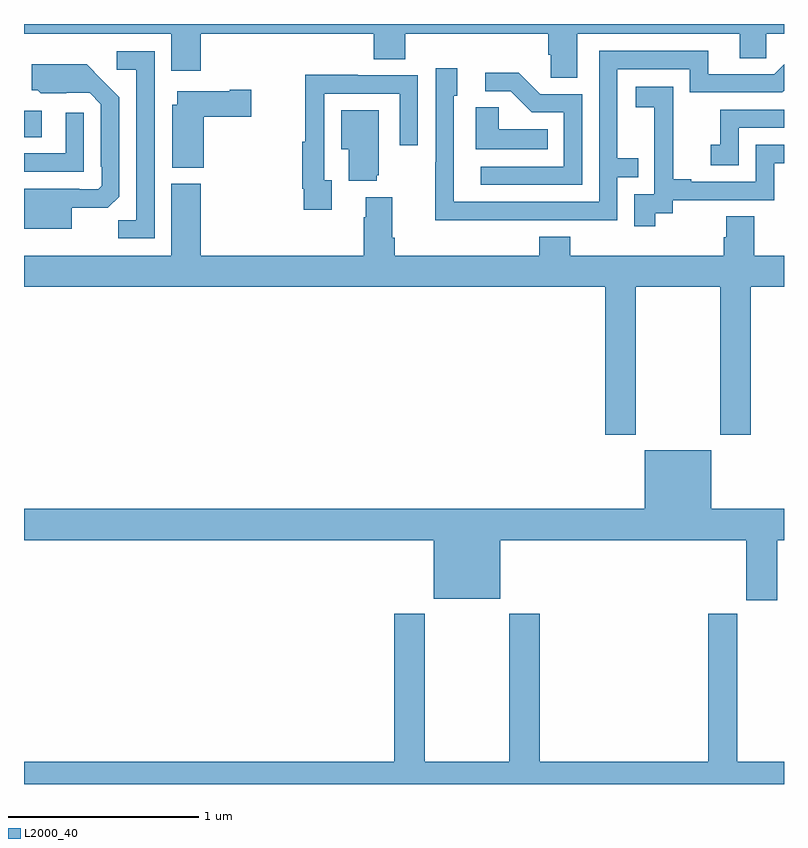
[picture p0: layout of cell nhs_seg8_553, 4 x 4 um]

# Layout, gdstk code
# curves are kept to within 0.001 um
import gdstk
lib = gdstk.Library(unit=1e-6, precision=1e-09)
def R(c, l, rs):  # rectangles x0, y0, x1, y1
    for r in rs: c.add(gdstk.rectangle(r[:2], r[2:], *l))
def P(c, l, *ps):  # polygons
    for p in ps: c.add(gdstk.Polygon(p, *l))
L2000_40 = (2000, 40)

nhs_seg8_553 = lib.new_cell('nhs_seg8_553')
R(nhs_seg8_553, L2000_40, [(147,1101.304,147.094,1101.444)])
P(nhs_seg8_553, L2000_40, [(149.911,1101.848),(150.767,1101.848),(150.767,1101.721),(150.906,1101.721),(150.906,1101.848),(151,1101.848),(151,1101.9),(147,1101.9),(147,1101.848),(147.776,1101.848),(147.776,1101.654),(147.929,1101.654),(147.929,1101.848),(148.841,1101.848),(148.841,1101.715),(149.006,1101.715),(149.006,1101.848),(149.759,1101.848),(149.759,1101.739),(149.772,1101.739),(149.772,1101.616),(149.911,1101.616)],
  [(149.627,1100.868),(150.123,1100.868),(150.123,1101.093),(150.233,1101.093),(150.233,1101.194),(150.123,1101.194),(150.123,1101.663),(150.504,1101.663),(150.504,1101.54),(150.99,1101.54),(151,1101.55),(151,1101.688),(150.948,1101.636),(150.601,1101.636),(150.601,1101.759),(150.027,1101.759),(150.027,1100.964),(149.262,1100.964),(149.262,1101.522),(149.281,1101.522),(149.281,1101.667),(149.166,1101.667),(149.166,1101.173),(149.164,1101.173),(149.164,1100.867)],
  [(147.687,1101.756),(147.489,1101.756),(147.489,1101.66),(147.591,1101.66),(147.591,1100.867),(147.496,1100.867),(147.496,1100.772),(147.687,1100.772)],
  [(147.25,1100.933),(147.442,1100.933),(147.501,1100.992),(147.501,1101.514),(147.329,1101.688),(147.041,1101.688),(147.041,1101.552),(147.072,1101.552),(147.088,1101.536),(147.345,1101.537),(147.405,1101.477),(147.405,1101.148),(147.408,1101.148),(147.408,1101.048),(147.39,1101.03),(147.29,1101.03),(147.29,1101.034),(147,1101.034),(147,1100.822),(147.25,1100.822)],
  [(149.937,1101.531),(149.718,1101.531),(149.605,1101.644),(149.427,1101.644),(149.427,1101.546),(149.561,1101.546),(149.672,1101.435),(149.841,1101.435),(149.841,1101.15),(149.403,1101.15),(149.403,1101.054),(149.937,1101.054)],
  [(148.621,1101.078),(148.581,1101.078),(148.581,1101.534),(148.977,1101.534),(148.977,1101.261),(149.073,1101.261),(149.073,1101.63),(148.757,1101.63),(148.757,1101.632),(148.48,1101.632),(148.48,1101.281),(148.465,1101.281),(148.465,1101.034),(148.473,1101.034),(148.473,1100.922),(148.621,1100.922)],
  [(150.322,1100.905),(150.414,1100.905),(150.414,1100.973),(150.948,1100.973),(150.948,1101.168),(151,1101.168),(151,1101.264),(150.852,1101.264),(150.852,1101.069),(150.511,1101.069),(150.511,1101.082),(150.416,1101.082),(150.416,1101.365),(150.417,1101.365),(150.417,1101.571),(150.219,1101.571),(150.219,1101.461),(150.317,1101.461),(150.317,1101.233),(150.318,1101.233),(150.318,1101.003),(150.213,1101.003),(150.213,1100.835),(150.322,1100.835)],
  [(147.946,1101.413),(148.195,1101.413),(148.195,1101.555),(148.082,1101.555),(148.082,1101.547),(147.806,1101.547),(147.806,1101.474),(147.779,1101.474),(147.779,1101.143),(147.946,1101.143)],
  [(149.756,1101.346),(149.499,1101.346),(149.499,1101.461),(149.378,1101.461),(149.378,1101.242),(149.756,1101.242)],
  [(150.762,1101.354),(151,1101.354),(151,1101.45),(150.664,1101.45),(150.664,1101.265),(150.615,1101.265),(150.615,1101.156),(150.762,1101.156)],
  [(148.856,1101.105),(148.867,1101.105),(148.867,1101.445),(148.67,1101.445),(148.67,1101.242),(148.709,1101.242),(148.709,1101.074),(148.856,1101.074)],
  [(147.315,1101.433),(147.219,1101.433),(147.219,1101.219),(147,1101.219),(147,1101.123),(147.315,1101.123)],
  [(150.824,1100.516),(151,1100.516),(151,1100.68),(150.843,1100.68),(150.843,1100.888),(150.695,1100.888),(150.695,1100.778),(150.683,1100.778),(150.683,1100.68),(149.876,1100.68),(149.876,1100.779),(149.711,1100.779),(149.711,1100.68),(148.952,1100.68),(148.952,1100.776),(148.939,1100.776),(148.939,1100.989),(148.799,1100.989),(148.799,1100.882),(148.787,1100.882),(148.787,1100.68),(147.929,1100.68),(147.929,1101.058),(147.776,1101.058),(147.776,1100.68),(147,1100.68),(147,1100.516),(150.059,1100.516),(150.059,1099.737),(150.219,1099.737),(150.219,1100.516),(150.664,1100.516),(150.664,1099.737),(150.824,1099.737)],
  [(150.964,1099.184),(151,1099.184),(151,1099.348),(150.616,1099.348),(150.616,1099.657),(150.266,1099.657),(150.266,1099.348),(147,1099.348),(147,1099.184),(149.156,1099.184),(149.156,1098.875),(149.506,1098.875),(149.506,1099.184),(150.8,1099.184),(150.8,1098.867),(150.964,1098.867)],
  [(151,1098.016),(150.754,1098.016),(150.754,1098.795),(150.602,1098.795),(150.602,1098.016),(149.714,1098.016),(149.714,1098.796),(149.554,1098.796),(149.554,1098.016),(149.109,1098.016),(149.109,1098.796),(148.949,1098.796),(148.949,1098.016),(147,1098.016),(147,1097.9),(151,1097.9)])

lib.write_gds('nhs_seg8_553.gds')
